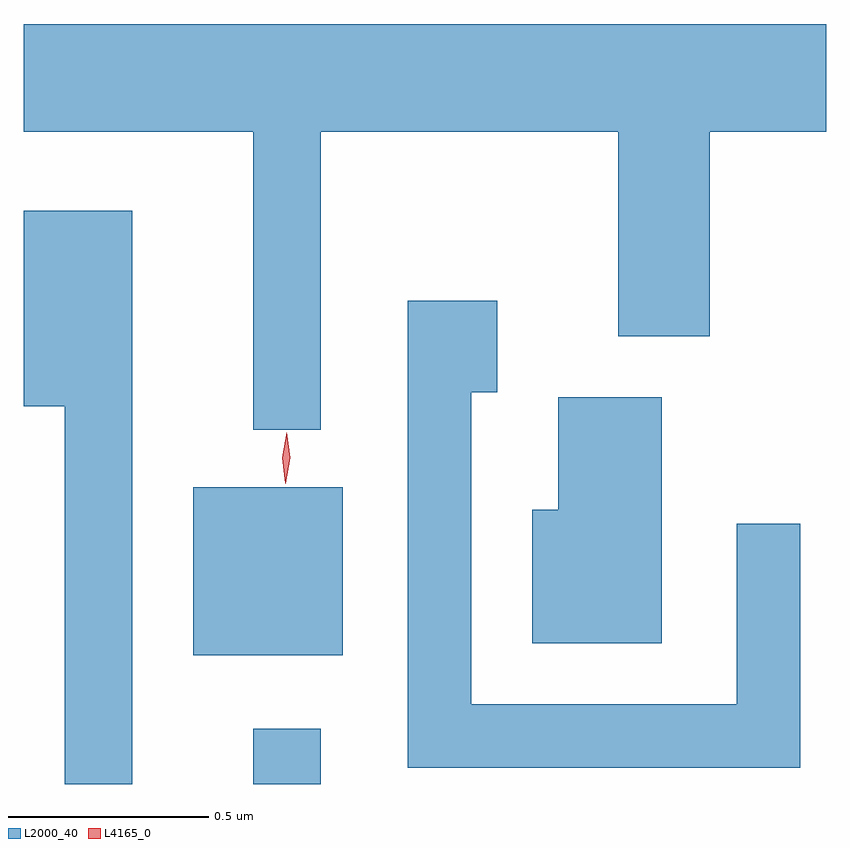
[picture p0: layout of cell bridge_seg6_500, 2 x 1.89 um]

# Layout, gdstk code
import gdstk
lib = gdstk.Library(unit=1e-6, precision=1e-09)
def R(c, l, rs):  # rectangles x0, y0, x1, y1
    for r in rs: c.add(gdstk.rectangle(r[:2], r[2:], *l))
def P(c, l, *ps):  # polygons
    for p in ps: c.add(gdstk.Polygon(p, *l))
L2000_40 = (2000, 40)
L4165_0 = (4165, 0)

bridge_seg6_500 = lib.new_cell('bridge_seg6_500')
R(bridge_seg6_500, L2000_40, [(645.211,1588.37,645.379,1588.508), (645.061,1588.691,645.434,1589.109)])
P(bridge_seg6_500, L2000_40, [(645.379,1589.996),(646.121,1589.996),(646.121,1589.486),(646.349,1589.486),(646.349,1589.996),(646.639,1589.996),(646.639,1590.264),(644.639,1590.264),(644.639,1589.996),(645.211,1589.996),(645.211,1589.253),(645.379,1589.253)],
  [(644.909,1589.799),(644.639,1589.799),(644.639,1589.311),(644.741,1589.311),(644.741,1588.37),(644.909,1588.37)],
  [(646.574,1589.018),(646.416,1589.018),(646.416,1588.569),(645.754,1588.569),(645.754,1589.346),(645.819,1589.346),(645.819,1589.574),(645.596,1589.574),(645.596,1588.411),(646.574,1588.411)],
  [(646.229,1589.334),(645.971,1589.334),(645.971,1589.054),(645.906,1589.054),(645.906,1588.721),(646.229,1588.721)])
P(bridge_seg6_500, L4165_0, [(645.292,1589.118),(645.291,1589.119),(645.283,1589.183),(645.294,1589.247),(645.294,1589.247),(645.295,1589.247),(645.303,1589.183),(645.292,1589.119)])

lib.write_gds('bridge_seg6_500.gds')
